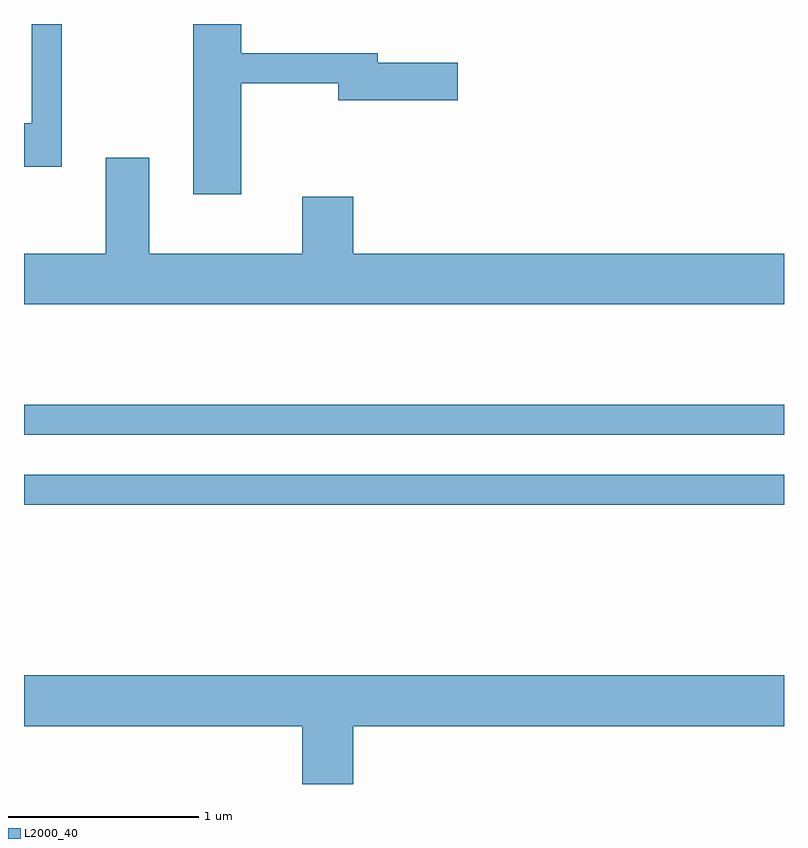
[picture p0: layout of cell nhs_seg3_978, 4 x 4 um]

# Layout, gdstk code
import gdstk
lib = gdstk.Library(unit=1e-6, precision=1e-09)
def R(c, l, rs):  # rectangles x0, y0, x1, y1
    for r in rs: c.add(gdstk.rectangle(r[:2], r[2:], *l))
def P(c, l, *ps):  # polygons
    for p in ps: c.add(gdstk.Polygon(p, *l))
L2000_40 = (2000, 40)

nhs_seg3_978 = lib.new_cell('nhs_seg3_978')
R(nhs_seg3_978, L2000_40, [(213.611,1169.361,217.611,1169.519), (213.611,1169.731,217.611,1169.889)])
P(nhs_seg3_978, L2000_40, [(213.809,1171.892),(213.651,1171.892),(213.651,1171.369),(213.611,1171.369),(213.611,1171.141),(213.809,1171.141)],
  [(214.754,1171.581),(215.266,1171.581),(215.266,1171.491),(215.894,1171.491),(215.894,1171.689),(215.474,1171.689),(215.474,1171.739),(214.754,1171.739),(214.754,1171.892),(214.501,1171.892),(214.501,1170.996),(214.754,1170.996)],
  [(217.611,1170.684),(215.344,1170.684),(215.344,1170.984),(215.076,1170.984),(215.076,1170.684),(214.269,1170.684),(214.269,1171.189),(214.041,1171.189),(214.041,1170.684),(213.611,1170.684),(213.611,1170.416),(217.611,1170.416)],
  [(215.344,1168.196),(217.611,1168.196),(217.611,1168.464),(213.611,1168.464),(213.611,1168.196),(215.076,1168.196),(215.076,1167.892),(215.344,1167.892)])

lib.write_gds('nhs_seg3_978.gds')
